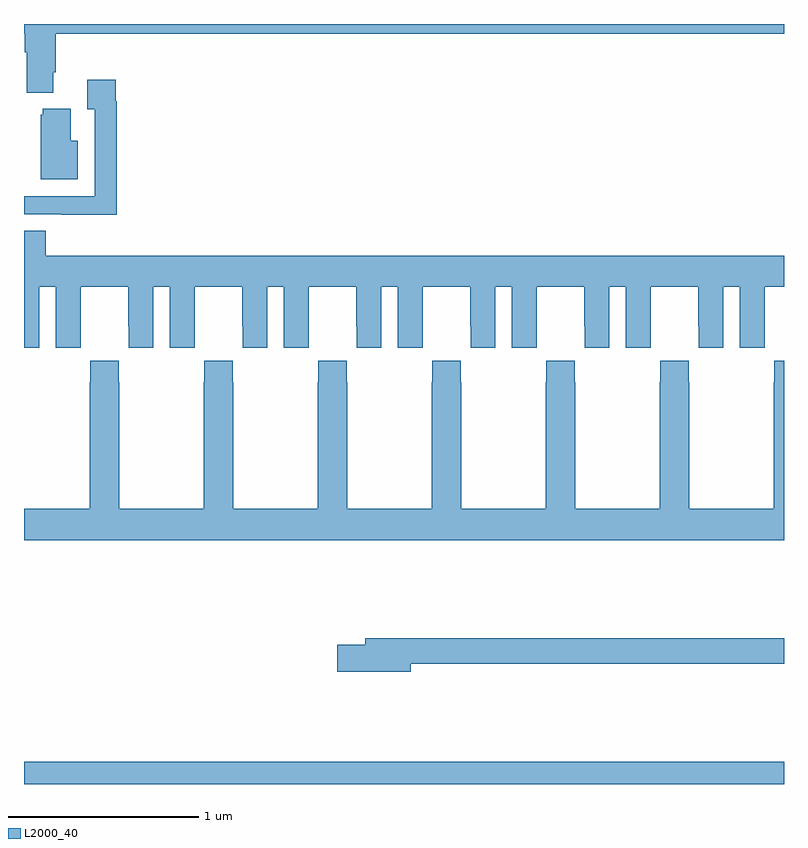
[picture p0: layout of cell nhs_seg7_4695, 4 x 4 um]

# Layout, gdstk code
import gdstk
lib = gdstk.Library(unit=1e-6, precision=1e-09)
def R(c, l, rs):  # rectangles x0, y0, x1, y1
    for r in rs: c.add(gdstk.rectangle(r[:2], r[2:], *l))
def P(c, l, *ps):  # polygons
    for p in ps: c.add(gdstk.Polygon(p, *l))
L2000_40 = (2000, 40)

nhs_seg7_4695 = lib.new_cell('nhs_seg7_4695')
R(nhs_seg7_4695, L2000_40, [(407,998,411,998.116)])
P(nhs_seg7_4695, L2000_40, [(407.155,1001.746),(407.168,1001.746),(407.168,1001.948),(411,1001.948),(411,1002),(407,1002),(407,1001.948),(407.003,1001.948),(407.003,1001.852),(407.015,1001.852),(407.015,1001.639),(407.155,1001.639)],
  [(407.489,1001.594),(407.482,1001.594),(407.482,1001.707),(407.333,1001.707),(407.333,1001.551),(407.373,1001.551),(407.373,1001.094),(407,1001.094),(407,1000.998),(407.197,1000.998),(407.197,1000.997),(407.489,1000.997)],
  [(407.284,1001.386),(407.245,1001.386),(407.245,1001.554),(407.099,1001.554),(407.099,1001.523),(407.087,1001.523),(407.087,1001.183),(407.284,1001.183)],
  [(407.114,1000.913),(407,1000.913),(407,1000.296),(407.08,1000.296),(407.08,1000.616),(407.168,1000.616),(407.168,1000.296),(407.298,1000.296),(407.298,1000.408),(407.299,1000.408),(407.299,1000.616),(407.549,1000.616),(407.549,1000.408),(407.55,1000.408),(407.55,1000.296),(407.68,1000.296),(407.68,1000.616),(407.768,1000.616),(407.768,1000.296),(407.898,1000.296),(407.898,1000.408),(407.899,1000.408),(407.899,1000.616),(408.149,1000.616),(408.149,1000.408),(408.15,1000.408),(408.15,1000.296),(408.28,1000.296),(408.28,1000.616),(408.368,1000.616),(408.368,1000.296),(408.498,1000.296),(408.498,1000.408),(408.499,1000.408),(408.499,1000.616),(408.749,1000.616),(408.749,1000.408),(408.75,1000.408),(408.75,1000.296),(408.88,1000.296),(408.88,1000.616),(408.968,1000.616),(408.968,1000.296),(409.098,1000.296),(409.098,1000.408),(409.099,1000.408),(409.099,1000.616),(409.349,1000.616),(409.349,1000.408),(409.35,1000.408),(409.35,1000.296),(409.48,1000.296),(409.48,1000.616),(409.568,1000.616),(409.568,1000.296),(409.698,1000.296),(409.698,1000.408),(409.699,1000.408),(409.699,1000.616),(409.949,1000.616),(409.949,1000.408),(409.95,1000.408),(409.95,1000.296),(410.08,1000.296),(410.08,1000.616),(410.168,1000.616),(410.168,1000.296),(410.298,1000.296),(410.298,1000.408),(410.299,1000.408),(410.299,1000.616),(410.549,1000.616),(410.549,1000.408),(410.55,1000.408),(410.55,1000.296),(410.68,1000.296),(410.68,1000.616),(410.768,1000.616),(410.768,1000.296),(410.898,1000.296),(410.898,1000.408),(410.899,1000.408),(410.899,1000.616),(411,1000.616),(411,1000.78),(407.114,1000.78)],
  [(411,1000.228),(410.949,1000.228),(410.949,1000.115),(410.947,1000.115),(410.947,999.448),(410.502,999.448),(410.502,1000.115),(410.499,1000.115),(410.499,1000.228),(410.349,1000.228),(410.349,1000.115),(410.347,1000.115),(410.347,999.448),(409.902,999.448),(409.902,1000.115),(409.899,1000.115),(409.899,1000.228),(409.749,1000.228),(409.749,1000.115),(409.747,1000.115),(409.747,999.448),(409.302,999.448),(409.302,1000.115),(409.299,1000.115),(409.299,1000.228),(409.149,1000.228),(409.149,1000.115),(409.147,1000.115),(409.147,999.448),(408.702,999.448),(408.702,1000.115),(408.699,1000.115),(408.699,1000.228),(408.549,1000.228),(408.549,1000.115),(408.547,1000.115),(408.547,999.448),(408.102,999.448),(408.102,1000.115),(408.099,1000.115),(408.099,1000.228),(407.949,1000.228),(407.949,1000.115),(407.947,1000.115),(407.947,999.448),(407.502,999.448),(407.502,1000.115),(407.499,1000.115),(407.499,1000.228),(407.349,1000.228),(407.349,1000.115),(407.347,1000.115),(407.347,999.448),(407,999.448),(407,999.284),(411,999.284)],
  [(409.036,998.632),(411,998.632),(411,998.768),(408.797,998.768),(408.797,998.732),(408.648,998.732),(408.648,998.59),(409.036,998.59)])

lib.write_gds('nhs_seg7_4695.gds')
